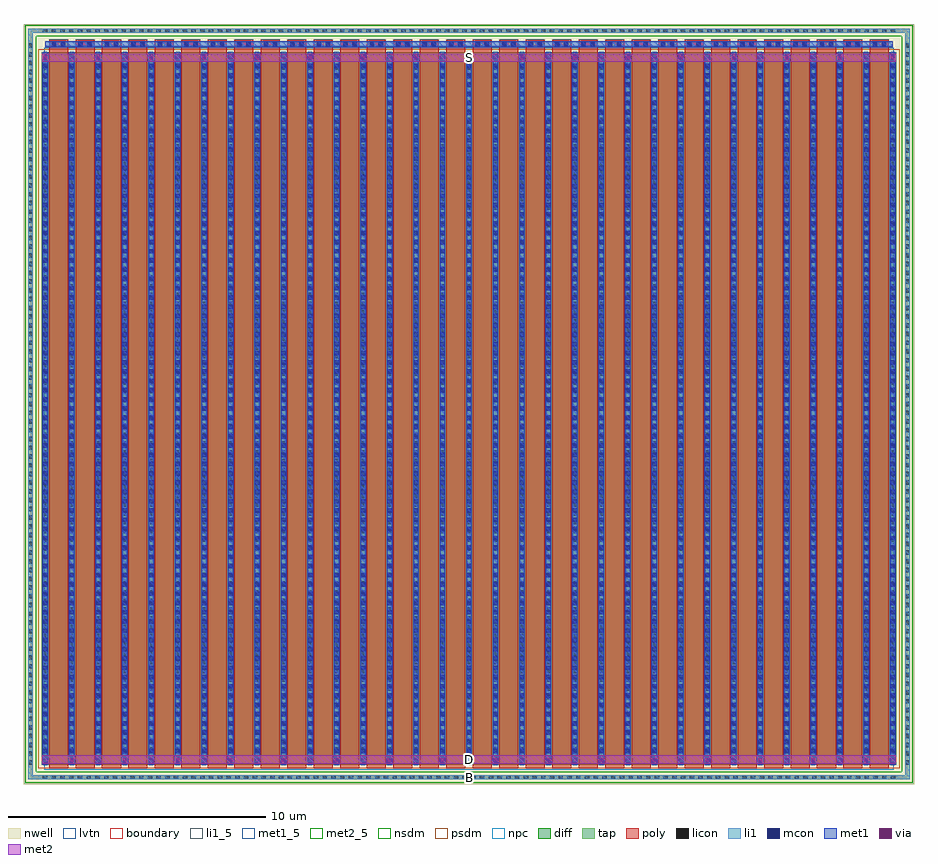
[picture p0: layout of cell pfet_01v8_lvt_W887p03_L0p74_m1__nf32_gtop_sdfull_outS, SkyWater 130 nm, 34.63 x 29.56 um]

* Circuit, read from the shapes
.subckt pfet_01v8_lvt_W887p03_L0p74_m1__nf32_gtop_sdfull_outS B D G S
XM1 D G S B sky130_fd_pr__pfet_01v8_lvt w=27.72 l=0.74 m=32
.ends

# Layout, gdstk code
import gdstk
lib = gdstk.Library(unit=1e-6, precision=1e-09)
def R(c, l, rs):  # rectangles x0, y0, x1, y1
    for r in rs: c.add(gdstk.rectangle(r[:2], r[2:], *l))
def A(c, l, x, y, w, h, nx, ny, dx, dy):  # array of equal rectangles
    R(c, l, [(x+i*dx, y+j*dy, x+i*dx+w, y+j*dy+h) for i in range(nx) for j in range(ny)])
nwell = (64, 20)
diff = (65, 20)
tap = (65, 44)
poly = (66, 20)
licon = (66, 44)
li1_5 = (67, 5)
li1 = (67, 20)
mcon = (67, 44)
met1_5 = (68, 5)
met1 = (68, 20)
via = (68, 44)
met2_5 = (69, 5)
met2 = (69, 20)
nsdm = (93, 44)
psdm = (94, 20)
npc = (95, 20)
lvtn = (125, 44)
boundary = (235, 4)

sky130_fd_pr__pfet_01v8_ = lib.new_cell('sky130_fd_pr__pfet_01v8_lvt_DLGRS6')
R(sky130_fd_pr__pfet_01v8_, nwell, [(-17.315,-14.78,17.315,14.78)])
R(sky130_fd_pr__pfet_01v8_, diff, [(-16.625,-14.04,16.625,13.68)])
R(sky130_fd_pr__pfet_01v8_, tap, [(-17.135,-14.6,17.135,-14.43), (-17.135,-14.43,-16.965,14.43), (16.965,-14.43,17.135,14.43), (-17.135,14.43,17.135,14.6)])
A(sky130_fd_pr__pfet_01v8_, poly, -16.335, -14.17, 0.74, 28.335, 32, 1, 1.03, 0)
A(sky130_fd_pr__pfet_01v8_, licon, -16.575, -14.6, 0.17, 0.17, 98, 2, 0.34, 29.03)
A(sky130_fd_pr__pfet_01v8_, licon, -17.135, -14.025, 0.17, 0.17, 1, 83, 0, 0.34)
A(sky130_fd_pr__pfet_01v8_, licon, 16.965, -14.025, 0.17, 0.17, 1, 83, 0, 0.34)
A(sky130_fd_pr__pfet_01v8_, licon, -16.565, -13.865, 0.17, 0.17, 33, 81, 1.03, 0.34)
R(sky130_fd_pr__pfet_01v8_, licon, [(-16.22,13.915,-16.05,14.085), (-15.88,13.915,-15.71,14.085), (-15.19,13.915,-15.02,14.085), (-14.85,13.915,-14.68,14.085), (-14.16,13.915,-13.99,14.085), (-13.82,13.915,-13.65,14.085), (-13.13,13.915,-12.96,14.085), (-12.79,13.915,-12.62,14.085), (-12.1,13.915,-11.93,14.085), (-11.76,13.915,-11.59,14.085), (-11.07,13.915,-10.9,14.085), (-10.73,13.915,-10.56,14.085), (-10.04,13.915,-9.87,14.085), (-9.7,13.915,-9.53,14.085), (-9.01,13.915,-8.84,14.085), (-8.67,13.915,-8.5,14.085), (-7.98,13.915,-7.81,14.085), (-7.64,13.915,-7.47,14.085), (-6.95,13.915,-6.78,14.085), (-6.61,13.915,-6.44,14.085), (-5.92,13.915,-5.75,14.085), (-5.58,13.915,-5.41,14.085), (-4.89,13.915,-4.72,14.085), (-4.55,13.915,-4.38,14.085), (-3.86,13.915,-3.69,14.085), (-3.52,13.915,-3.35,14.085), (-2.83,13.915,-2.66,14.085), (-2.49,13.915,-2.32,14.085), (-1.8,13.915,-1.63,14.085), (-1.46,13.915,-1.29,14.085), (-0.77,13.915,-0.6,14.085), (-0.43,13.915,-0.26,14.085), (0.26,13.915,0.43,14.085), (0.6,13.915,0.77,14.085), (1.29,13.915,1.46,14.085), (1.63,13.915,1.8,14.085), (2.32,13.915,2.49,14.085), (2.66,13.915,2.83,14.085), (3.35,13.915,3.52,14.085), (3.69,13.915,3.86,14.085), (4.38,13.915,4.55,14.085), (4.72,13.915,4.89,14.085), (5.41,13.915,5.58,14.085), (5.75,13.915,5.92,14.085), (6.44,13.915,6.61,14.085), (6.78,13.915,6.95,14.085), (7.47,13.915,7.64,14.085), (7.81,13.915,7.98,14.085), (8.5,13.915,8.67,14.085), (8.84,13.915,9.01,14.085), (9.53,13.915,9.7,14.085), (9.87,13.915,10.04,14.085), (10.56,13.915,10.73,14.085), (10.9,13.915,11.07,14.085), (11.59,13.915,11.76,14.085), (11.93,13.915,12.1,14.085), (12.62,13.915,12.79,14.085), (12.96,13.915,13.13,14.085), (13.65,13.915,13.82,14.085), (13.99,13.915,14.16,14.085), (14.68,13.915,14.85,14.085), (15.02,13.915,15.19,14.085), (15.71,13.915,15.88,14.085), (16.05,13.915,16.22,14.085)])
A(sky130_fd_pr__pfet_01v8_, li1, -16.565, -14.06, 0.17, 27.76, 33, 1, 1.03, 0)
R(sky130_fd_pr__pfet_01v8_, li1, [(-17.135,-14.6,17.135,-14.43), (-17.135,-14.43,-16.965,14.43), (16.965,-14.43,17.135,14.43), (-16.48,13.915,16.48,14.085), (-17.135,14.43,17.135,14.6)])
A(sky130_fd_pr__pfet_01v8_, mcon, -16.565, -13.945, 0.17, 0.17, 33, 77, 1.03, 0.36)
R(sky130_fd_pr__pfet_01v8_, mcon, [(-16.23,13.915,-16.06,14.085), (-15.87,13.915,-15.7,14.085), (-15.2,13.915,-15.03,14.085), (-14.84,13.915,-14.67,14.085), (-14.17,13.915,-14,14.085), (-13.81,13.915,-13.64,14.085), (-13.14,13.915,-12.97,14.085), (-12.78,13.915,-12.61,14.085), (-12.11,13.915,-11.94,14.085), (-11.75,13.915,-11.58,14.085), (-11.08,13.915,-10.91,14.085), (-10.72,13.915,-10.55,14.085), (-10.05,13.915,-9.88,14.085), (-9.69,13.915,-9.52,14.085), (-9.02,13.915,-8.85,14.085), (-8.66,13.915,-8.49,14.085), (-7.99,13.915,-7.82,14.085), (-7.63,13.915,-7.46,14.085), (-6.96,13.915,-6.79,14.085), (-6.6,13.915,-6.43,14.085), (-5.93,13.915,-5.76,14.085), (-5.57,13.915,-5.4,14.085), (-4.9,13.915,-4.73,14.085), (-4.54,13.915,-4.37,14.085), (-3.87,13.915,-3.7,14.085), (-3.51,13.915,-3.34,14.085), (-2.84,13.915,-2.67,14.085), (-2.48,13.915,-2.31,14.085), (-1.81,13.915,-1.64,14.085), (-1.45,13.915,-1.28,14.085), (-0.78,13.915,-0.61,14.085), (-0.42,13.915,-0.25,14.085), (0.25,13.915,0.42,14.085), (0.61,13.915,0.78,14.085), (1.28,13.915,1.45,14.085), (1.64,13.915,1.81,14.085), (2.31,13.915,2.48,14.085), (2.67,13.915,2.84,14.085), (3.34,13.915,3.51,14.085), (3.7,13.915,3.87,14.085), (4.37,13.915,4.54,14.085), (4.73,13.915,4.9,14.085), (5.4,13.915,5.57,14.085), (5.76,13.915,5.93,14.085), (6.43,13.915,6.6,14.085), (6.79,13.915,6.96,14.085), (7.46,13.915,7.63,14.085), (7.82,13.915,7.99,14.085), (8.49,13.915,8.66,14.085), (8.85,13.915,9.02,14.085), (9.52,13.915,9.69,14.085), (9.88,13.915,10.05,14.085), (10.55,13.915,10.72,14.085), (10.91,13.915,11.08,14.085), (11.58,13.915,11.75,14.085), (11.94,13.915,12.11,14.085), (12.61,13.915,12.78,14.085), (12.97,13.915,13.14,14.085), (13.64,13.915,13.81,14.085), (14,13.915,14.17,14.085), (14.67,13.915,14.84,14.085), (15.03,13.915,15.2,14.085), (15.7,13.915,15.87,14.085), (16.06,13.915,16.23,14.085)])
A(sky130_fd_pr__pfet_01v8_, met1, -16.595, -14.04, 0.23, 27.72, 33, 1, 1.03, 0)
A(sky130_fd_pr__pfet_01v8_, met1, -16.315, 13.885, 0.7, 0.03, 32, 2, 1.03, 0.2)
R(sky130_fd_pr__pfet_01v8_, met1, [(-16.48,13.915,16.48,14.085)])
R(sky130_fd_pr__pfet_01v8_, nsdm, [(-17.26,-14.725,17.26,-14.305), (-17.26,-14.305,-16.84,14.305), (16.84,-14.305,17.26,14.305), (-17.26,14.305,17.26,14.725)])
R(sky130_fd_pr__pfet_01v8_, psdm, [(-16.75,-14.165,16.75,13.805)])
A(sky130_fd_pr__pfet_01v8_, npc, -16.32, 13.815, 0.71, 0.37, 32, 1, 1.03, 0)
R(sky130_fd_pr__pfet_01v8_, lvtn, [(-16.515,-14.22,16.515,13.86)])
R(sky130_fd_pr__pfet_01v8_, boundary, [(-17.05,-14.515,17.05,14.515)])
sky130_fd_pr__pfet_01v8_.add(gdstk.Label('B', (0,-14.515), layer=67, texttype=5))
sky130_fd_pr__pfet_01v8_.add(gdstk.Label('D0', (-16.48,-0.18), layer=67, texttype=5))
sky130_fd_pr__pfet_01v8_.add(gdstk.Label('G', (15.965,14), layer=67, texttype=5))
sky130_fd_pr__pfet_01v8_.add(gdstk.Label('G', (14.935,14), layer=67, texttype=5))
sky130_fd_pr__pfet_01v8_.add(gdstk.Label('G', (13.905,14), layer=67, texttype=5))
sky130_fd_pr__pfet_01v8_.add(gdstk.Label('G', (12.875,14), layer=67, texttype=5))
sky130_fd_pr__pfet_01v8_.add(gdstk.Label('G', (11.845,14), layer=67, texttype=5))
sky130_fd_pr__pfet_01v8_.add(gdstk.Label('G', (10.815,14), layer=67, texttype=5))
sky130_fd_pr__pfet_01v8_.add(gdstk.Label('G', (9.785,14), layer=67, texttype=5))
sky130_fd_pr__pfet_01v8_.add(gdstk.Label('G', (8.755,14), layer=67, texttype=5))
sky130_fd_pr__pfet_01v8_.add(gdstk.Label('G', (7.725,14), layer=67, texttype=5))
sky130_fd_pr__pfet_01v8_.add(gdstk.Label('G', (6.695,14), layer=67, texttype=5))
sky130_fd_pr__pfet_01v8_.add(gdstk.Label('G', (5.665,14), layer=67, texttype=5))
sky130_fd_pr__pfet_01v8_.add(gdstk.Label('G', (4.635,14), layer=67, texttype=5))
sky130_fd_pr__pfet_01v8_.add(gdstk.Label('G', (3.605,14), layer=67, texttype=5))
sky130_fd_pr__pfet_01v8_.add(gdstk.Label('G', (2.575,14), layer=67, texttype=5))
sky130_fd_pr__pfet_01v8_.add(gdstk.Label('G', (1.545,14), layer=67, texttype=5))
sky130_fd_pr__pfet_01v8_.add(gdstk.Label('G', (0.515,14), layer=67, texttype=5))
sky130_fd_pr__pfet_01v8_.add(gdstk.Label('G', (-0.515,14), layer=67, texttype=5))
sky130_fd_pr__pfet_01v8_.add(gdstk.Label('G', (-1.545,14), layer=67, texttype=5))
sky130_fd_pr__pfet_01v8_.add(gdstk.Label('G', (-2.575,14), layer=67, texttype=5))
sky130_fd_pr__pfet_01v8_.add(gdstk.Label('G', (-3.605,14), layer=67, texttype=5))
sky130_fd_pr__pfet_01v8_.add(gdstk.Label('G', (-4.635,14), layer=67, texttype=5))
sky130_fd_pr__pfet_01v8_.add(gdstk.Label('G', (-5.665,14), layer=67, texttype=5))
sky130_fd_pr__pfet_01v8_.add(gdstk.Label('G', (-6.695,14), layer=67, texttype=5))
sky130_fd_pr__pfet_01v8_.add(gdstk.Label('G', (-7.725,14), layer=67, texttype=5))
sky130_fd_pr__pfet_01v8_.add(gdstk.Label('G', (-8.755,14), layer=67, texttype=5))
sky130_fd_pr__pfet_01v8_.add(gdstk.Label('G', (-9.785,14), layer=67, texttype=5))
sky130_fd_pr__pfet_01v8_.add(gdstk.Label('G', (-10.815,14), layer=67, texttype=5))
sky130_fd_pr__pfet_01v8_.add(gdstk.Label('G', (-11.845,14), layer=67, texttype=5))
sky130_fd_pr__pfet_01v8_.add(gdstk.Label('G', (-12.875,14), layer=67, texttype=5))
sky130_fd_pr__pfet_01v8_.add(gdstk.Label('G', (-13.905,14), layer=67, texttype=5))
sky130_fd_pr__pfet_01v8_.add(gdstk.Label('G', (-14.935,14), layer=67, texttype=5))
sky130_fd_pr__pfet_01v8_.add(gdstk.Label('G', (-15.965,14), layer=67, texttype=5))
sky130_fd_pr__pfet_01v8_.add(gdstk.Label('S1', (-15.45,-0.18), layer=67, texttype=5))
sky130_fd_pr__pfet_01v8_.add(gdstk.Label('D2', (-14.42,-0.18), layer=67, texttype=5))
sky130_fd_pr__pfet_01v8_.add(gdstk.Label('S3', (-13.39,-0.18), layer=67, texttype=5))
sky130_fd_pr__pfet_01v8_.add(gdstk.Label('D4', (-12.36,-0.18), layer=67, texttype=5))
sky130_fd_pr__pfet_01v8_.add(gdstk.Label('S5', (-11.33,-0.18), layer=67, texttype=5))
sky130_fd_pr__pfet_01v8_.add(gdstk.Label('D6', (-10.3,-0.18), layer=67, texttype=5))
sky130_fd_pr__pfet_01v8_.add(gdstk.Label('S7', (-9.27,-0.18), layer=67, texttype=5))
sky130_fd_pr__pfet_01v8_.add(gdstk.Label('D8', (-8.24,-0.18), layer=67, texttype=5))
sky130_fd_pr__pfet_01v8_.add(gdstk.Label('S9', (-7.21,-0.18), layer=67, texttype=5))
sky130_fd_pr__pfet_01v8_.add(gdstk.Label('D10', (-6.18,-0.18), layer=67, texttype=5))
sky130_fd_pr__pfet_01v8_.add(gdstk.Label('S11', (-5.15,-0.18), layer=67, texttype=5))
sky130_fd_pr__pfet_01v8_.add(gdstk.Label('D12', (-4.12,-0.18), layer=67, texttype=5))
sky130_fd_pr__pfet_01v8_.add(gdstk.Label('S13', (-3.09,-0.18), layer=67, texttype=5))
sky130_fd_pr__pfet_01v8_.add(gdstk.Label('D14', (-2.06,-0.18), layer=67, texttype=5))
sky130_fd_pr__pfet_01v8_.add(gdstk.Label('S15', (-1.03,-0.18), layer=67, texttype=5))
sky130_fd_pr__pfet_01v8_.add(gdstk.Label('D16', (0,-0.18), layer=67, texttype=5))
sky130_fd_pr__pfet_01v8_.add(gdstk.Label('S17', (1.03,-0.18), layer=67, texttype=5))
sky130_fd_pr__pfet_01v8_.add(gdstk.Label('D18', (2.06,-0.18), layer=67, texttype=5))
sky130_fd_pr__pfet_01v8_.add(gdstk.Label('S19', (3.09,-0.18), layer=67, texttype=5))
sky130_fd_pr__pfet_01v8_.add(gdstk.Label('D20', (4.12,-0.18), layer=67, texttype=5))
sky130_fd_pr__pfet_01v8_.add(gdstk.Label('S21', (5.15,-0.18), layer=67, texttype=5))
sky130_fd_pr__pfet_01v8_.add(gdstk.Label('D22', (6.18,-0.18), layer=67, texttype=5))
sky130_fd_pr__pfet_01v8_.add(gdstk.Label('S23', (7.21,-0.18), layer=67, texttype=5))
sky130_fd_pr__pfet_01v8_.add(gdstk.Label('D24', (8.24,-0.18), layer=67, texttype=5))
sky130_fd_pr__pfet_01v8_.add(gdstk.Label('S25', (9.27,-0.18), layer=67, texttype=5))
sky130_fd_pr__pfet_01v8_.add(gdstk.Label('D26', (10.3,-0.18), layer=67, texttype=5))
sky130_fd_pr__pfet_01v8_.add(gdstk.Label('S27', (11.33,-0.18), layer=67, texttype=5))
sky130_fd_pr__pfet_01v8_.add(gdstk.Label('D28', (12.36,-0.18), layer=67, texttype=5))
sky130_fd_pr__pfet_01v8_.add(gdstk.Label('S29', (13.39,-0.18), layer=67, texttype=5))
sky130_fd_pr__pfet_01v8_.add(gdstk.Label('D30', (14.42,-0.18), layer=67, texttype=5))
sky130_fd_pr__pfet_01v8_.add(gdstk.Label('S31', (15.45,-0.18), layer=67, texttype=5))

pfet_01v8_lvt_w887p03_l0 = lib.new_cell('pfet_01v8_lvt_W887p03_L0p74_m1__nf32_gtop_sdfull_outS')
R(pfet_01v8_lvt_w887p03_l0, li1_5, [(16.965,-0.085,17.135,0.085)])
R(pfet_01v8_lvt_w887p03_l0, li1, [(16.965,-0.085,17.135,0.085)])
R(pfet_01v8_lvt_w887p03_l0, met1_5, [(0.57,28.4,33.53,28.63)])
A(pfet_01v8_lvt_w887p03_l0, met1, 1.47, 0.525, 0.26, 0.32, 16, 1, 2.06, 0)
A(pfet_01v8_lvt_w887p03_l0, met1, 0.44, 27.825, 0.26, 0.32, 17, 1, 2.06, 0)
R(pfet_01v8_lvt_w887p03_l0, met1, [(0.57,28.4,33.53,28.63)])
A(pfet_01v8_lvt_w887p03_l0, via, 1.525, 0.61, 0.15, 0.15, 16, 1, 2.06, 0)
A(pfet_01v8_lvt_w887p03_l0, via, 0.495, 27.91, 0.15, 0.15, 17, 1, 2.06, 0)
R(pfet_01v8_lvt_w887p03_l0, met2_5, [(0.435,0.525,33.665,0.845), (0.435,27.825,33.665,28.145)])
R(pfet_01v8_lvt_w887p03_l0, met2, [(0.435,0.525,33.665,0.845), (0.435,27.825,33.665,28.145)])
pfet_01v8_lvt_w887p03_l0.add(gdstk.Reference(sky130_fd_pr__pfet_01v8_, (17.05,14.515)))
pfet_01v8_lvt_w887p03_l0.add(gdstk.Label('S', (17.05,27.985), layer=69, texttype=5))
pfet_01v8_lvt_w887p03_l0.add(gdstk.Label('D', (17.05,0.685), layer=69, texttype=5))
pfet_01v8_lvt_w887p03_l0.add(gdstk.Label('G', (17.05,28.515), layer=68, texttype=5))
pfet_01v8_lvt_w887p03_l0.add(gdstk.Label('B', (17.05,0), layer=67, texttype=5))

lib.write_gds('pfet_01v8_lvt_W887p03_L0p74_m1__nf32_gtop_sdfull_outS.gds')
